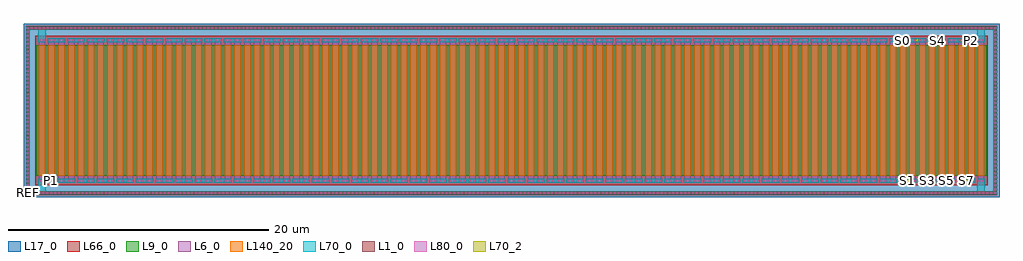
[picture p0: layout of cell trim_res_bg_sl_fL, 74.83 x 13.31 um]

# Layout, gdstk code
from math import pi, radians
import gdstk
lib = gdstk.Library(unit=1e-6, precision=1e-09)
def R(c, l, rs):  # rectangles x0, y0, x1, y1
    for r in rs: c.add(gdstk.rectangle(r[:2], r[2:], *l))
def A(c, l, x, y, w, h, nx, ny, dx, dy):  # array of equal rectangles
    R(c, l, [(x+i*dx, y+j*dy, x+i*dx+w, y+j*dy+h) for i in range(nx) for j in range(ny)])
L1_0 = (1, 0)
L6_0 = (6, 0)
L9_0 = (9, 0)
L17_0 = (17, 0)
L66_0 = (66, 0)
L70_0 = (70, 0)
L70_2 = (70, 2)
L80_0 = (80, 0)
L140_20 = (140, 20)

contact_cdns_78200731513 = lib.new_cell('Contact_CDNS_782007315131')
R(contact_cdns_78200731513, L6_0, [(-0.02,-0.02,0.58,0.28)])
R(contact_cdns_78200731513, L70_0, [(-0.02,-0.02,0.58,0.28)])
R(contact_cdns_78200731513, L80_0, [(0.06,0.06,0.2,0.2), (0.36,0.06,0.5,0.2)])

rnpolyh_cdns_78200731513 = lib.new_cell('rnpolyh_CDNS_782007315130')
R(rnpolyh_cdns_78200731513, L6_0, [(0,-0.24,0.5,0), (0,0,0.5,10), (0,10,0.5,10.24)])
R(rnpolyh_cdns_78200731513, L9_0, [(-0.2,0,0.7,10)])
R(rnpolyh_cdns_78200731513, L17_0, [(-0.21,-0.7,0.71,10.7)])
R(rnpolyh_cdns_78200731513, L66_0, [(-0.25,-0.74,0.75,10.74)])
R(rnpolyh_cdns_78200731513, L70_0, [(-0.05,-0.54,0.55,-0.24), (-0.05,-0.54,0.55,-0.24), (-0.05,10.24,0.55,10.54), (-0.05,10.24,0.55,10.54)])
R(rnpolyh_cdns_78200731513, L140_20, [(0,0,0.5,10)])
rnpolyh_cdns_78200731513.add(gdstk.Reference(contact_cdns_78200731513, (-0.03,10.26)))
rnpolyh_cdns_78200731513.add(gdstk.Reference(contact_cdns_78200731513, (-0.03,-0.52)))

c_rnpolyh_cdns_78200731513 = lib.new_cell('rnpolyh_CDNS_782007315132')
A(c_rnpolyh_cdns_78200731513, L6_0, 0, -0.24, 0.5, 0.24, 86, 2, 0.75, 10.24)
A(c_rnpolyh_cdns_78200731513, L6_0, 0, 0, 0.5, 10, 86, 1, 0.75, 0)
R(c_rnpolyh_cdns_78200731513, L9_0, [(-0.2,0,64.45,10)])
R(c_rnpolyh_cdns_78200731513, L17_0, [(-0.21,-0.7,64.46,10.7)])
R(c_rnpolyh_cdns_78200731513, L66_0, [(-0.25,-0.74,64.5,10.74)])
A(c_rnpolyh_cdns_78200731513, L70_0, -0.05, -0.54, 0.6, 0.3, 86, 2, 0.75, 10.78)
A(c_rnpolyh_cdns_78200731513, L70_0, 0.7, -0.54, 1.35, 0.3, 42, 1, 1.5, 0)
A(c_rnpolyh_cdns_78200731513, L70_0, -0.05, 10.24, 1.35, 0.3, 43, 1, 1.5, 0)
R(c_rnpolyh_cdns_78200731513, L70_0, [(-0.05,-0.54,0.55,-0.24), (63.7,-0.54,64.3,-0.24)])
A(c_rnpolyh_cdns_78200731513, L140_20, 0, 0, 0.5, 10, 86, 1, 0.75, 0)
c_rnpolyh_cdns_78200731513.add(gdstk.Reference(contact_cdns_78200731513, (63.72,10.26)))
c_rnpolyh_cdns_78200731513.add(gdstk.Reference(contact_cdns_78200731513, (63.72,-0.52)))
c_rnpolyh_cdns_78200731513.add(gdstk.Reference(contact_cdns_78200731513, (62.97,10.26)))
c_rnpolyh_cdns_78200731513.add(gdstk.Reference(contact_cdns_78200731513, (62.97,-0.52)))
c_rnpolyh_cdns_78200731513.add(gdstk.Reference(contact_cdns_78200731513, (62.22,10.26)))
c_rnpolyh_cdns_78200731513.add(gdstk.Reference(contact_cdns_78200731513, (62.22,-0.52)))
c_rnpolyh_cdns_78200731513.add(gdstk.Reference(contact_cdns_78200731513, (61.47,10.26)))
c_rnpolyh_cdns_78200731513.add(gdstk.Reference(contact_cdns_78200731513, (61.47,-0.52)))
c_rnpolyh_cdns_78200731513.add(gdstk.Reference(contact_cdns_78200731513, (60.72,10.26)))
c_rnpolyh_cdns_78200731513.add(gdstk.Reference(contact_cdns_78200731513, (60.72,-0.52)))
c_rnpolyh_cdns_78200731513.add(gdstk.Reference(contact_cdns_78200731513, (59.97,10.26)))
c_rnpolyh_cdns_78200731513.add(gdstk.Reference(contact_cdns_78200731513, (59.97,-0.52)))
c_rnpolyh_cdns_78200731513.add(gdstk.Reference(contact_cdns_78200731513, (59.22,10.26)))
c_rnpolyh_cdns_78200731513.add(gdstk.Reference(contact_cdns_78200731513, (59.22,-0.52)))
c_rnpolyh_cdns_78200731513.add(gdstk.Reference(contact_cdns_78200731513, (58.47,10.26)))
c_rnpolyh_cdns_78200731513.add(gdstk.Reference(contact_cdns_78200731513, (58.47,-0.52)))
c_rnpolyh_cdns_78200731513.add(gdstk.Reference(contact_cdns_78200731513, (57.72,10.26)))
c_rnpolyh_cdns_78200731513.add(gdstk.Reference(contact_cdns_78200731513, (57.72,-0.52)))
c_rnpolyh_cdns_78200731513.add(gdstk.Reference(contact_cdns_78200731513, (56.97,10.26)))
c_rnpolyh_cdns_78200731513.add(gdstk.Reference(contact_cdns_78200731513, (56.97,-0.52)))
c_rnpolyh_cdns_78200731513.add(gdstk.Reference(contact_cdns_78200731513, (56.22,10.26)))
c_rnpolyh_cdns_78200731513.add(gdstk.Reference(contact_cdns_78200731513, (56.22,-0.52)))
c_rnpolyh_cdns_78200731513.add(gdstk.Reference(contact_cdns_78200731513, (55.47,10.26)))
c_rnpolyh_cdns_78200731513.add(gdstk.Reference(contact_cdns_78200731513, (55.47,-0.52)))
c_rnpolyh_cdns_78200731513.add(gdstk.Reference(contact_cdns_78200731513, (54.72,10.26)))
c_rnpolyh_cdns_78200731513.add(gdstk.Reference(contact_cdns_78200731513, (54.72,-0.52)))
c_rnpolyh_cdns_78200731513.add(gdstk.Reference(contact_cdns_78200731513, (53.97,10.26)))
c_rnpolyh_cdns_78200731513.add(gdstk.Reference(contact_cdns_78200731513, (53.97,-0.52)))
c_rnpolyh_cdns_78200731513.add(gdstk.Reference(contact_cdns_78200731513, (53.22,10.26)))
c_rnpolyh_cdns_78200731513.add(gdstk.Reference(contact_cdns_78200731513, (53.22,-0.52)))
c_rnpolyh_cdns_78200731513.add(gdstk.Reference(contact_cdns_78200731513, (52.47,10.26)))
c_rnpolyh_cdns_78200731513.add(gdstk.Reference(contact_cdns_78200731513, (52.47,-0.52)))
c_rnpolyh_cdns_78200731513.add(gdstk.Reference(contact_cdns_78200731513, (51.72,10.26)))
c_rnpolyh_cdns_78200731513.add(gdstk.Reference(contact_cdns_78200731513, (51.72,-0.52)))
c_rnpolyh_cdns_78200731513.add(gdstk.Reference(contact_cdns_78200731513, (50.97,10.26)))
c_rnpolyh_cdns_78200731513.add(gdstk.Reference(contact_cdns_78200731513, (50.97,-0.52)))
c_rnpolyh_cdns_78200731513.add(gdstk.Reference(contact_cdns_78200731513, (50.22,10.26)))
c_rnpolyh_cdns_78200731513.add(gdstk.Reference(contact_cdns_78200731513, (50.22,-0.52)))
c_rnpolyh_cdns_78200731513.add(gdstk.Reference(contact_cdns_78200731513, (49.47,10.26)))
c_rnpolyh_cdns_78200731513.add(gdstk.Reference(contact_cdns_78200731513, (49.47,-0.52)))
c_rnpolyh_cdns_78200731513.add(gdstk.Reference(contact_cdns_78200731513, (48.72,10.26)))
c_rnpolyh_cdns_78200731513.add(gdstk.Reference(contact_cdns_78200731513, (48.72,-0.52)))
c_rnpolyh_cdns_78200731513.add(gdstk.Reference(contact_cdns_78200731513, (47.97,10.26)))
c_rnpolyh_cdns_78200731513.add(gdstk.Reference(contact_cdns_78200731513, (47.97,-0.52)))
c_rnpolyh_cdns_78200731513.add(gdstk.Reference(contact_cdns_78200731513, (47.22,10.26)))
c_rnpolyh_cdns_78200731513.add(gdstk.Reference(contact_cdns_78200731513, (47.22,-0.52)))
c_rnpolyh_cdns_78200731513.add(gdstk.Reference(contact_cdns_78200731513, (46.47,10.26)))
c_rnpolyh_cdns_78200731513.add(gdstk.Reference(contact_cdns_78200731513, (46.47,-0.52)))
c_rnpolyh_cdns_78200731513.add(gdstk.Reference(contact_cdns_78200731513, (45.72,10.26)))
c_rnpolyh_cdns_78200731513.add(gdstk.Reference(contact_cdns_78200731513, (45.72,-0.52)))
c_rnpolyh_cdns_78200731513.add(gdstk.Reference(contact_cdns_78200731513, (44.97,10.26)))
c_rnpolyh_cdns_78200731513.add(gdstk.Reference(contact_cdns_78200731513, (44.97,-0.52)))
c_rnpolyh_cdns_78200731513.add(gdstk.Reference(contact_cdns_78200731513, (44.22,10.26)))
c_rnpolyh_cdns_78200731513.add(gdstk.Reference(contact_cdns_78200731513, (44.22,-0.52)))
c_rnpolyh_cdns_78200731513.add(gdstk.Reference(contact_cdns_78200731513, (43.47,10.26)))
c_rnpolyh_cdns_78200731513.add(gdstk.Reference(contact_cdns_78200731513, (43.47,-0.52)))
c_rnpolyh_cdns_78200731513.add(gdstk.Reference(contact_cdns_78200731513, (42.72,10.26)))
c_rnpolyh_cdns_78200731513.add(gdstk.Reference(contact_cdns_78200731513, (42.72,-0.52)))
c_rnpolyh_cdns_78200731513.add(gdstk.Reference(contact_cdns_78200731513, (41.97,10.26)))
c_rnpolyh_cdns_78200731513.add(gdstk.Reference(contact_cdns_78200731513, (41.97,-0.52)))
c_rnpolyh_cdns_78200731513.add(gdstk.Reference(contact_cdns_78200731513, (41.22,10.26)))
c_rnpolyh_cdns_78200731513.add(gdstk.Reference(contact_cdns_78200731513, (41.22,-0.52)))
c_rnpolyh_cdns_78200731513.add(gdstk.Reference(contact_cdns_78200731513, (40.47,10.26)))
c_rnpolyh_cdns_78200731513.add(gdstk.Reference(contact_cdns_78200731513, (40.47,-0.52)))
c_rnpolyh_cdns_78200731513.add(gdstk.Reference(contact_cdns_78200731513, (39.72,10.26)))
c_rnpolyh_cdns_78200731513.add(gdstk.Reference(contact_cdns_78200731513, (39.72,-0.52)))
c_rnpolyh_cdns_78200731513.add(gdstk.Reference(contact_cdns_78200731513, (38.97,10.26)))
c_rnpolyh_cdns_78200731513.add(gdstk.Reference(contact_cdns_78200731513, (38.97,-0.52)))
c_rnpolyh_cdns_78200731513.add(gdstk.Reference(contact_cdns_78200731513, (38.22,10.26)))
c_rnpolyh_cdns_78200731513.add(gdstk.Reference(contact_cdns_78200731513, (38.22,-0.52)))
c_rnpolyh_cdns_78200731513.add(gdstk.Reference(contact_cdns_78200731513, (37.47,10.26)))
c_rnpolyh_cdns_78200731513.add(gdstk.Reference(contact_cdns_78200731513, (37.47,-0.52)))
c_rnpolyh_cdns_78200731513.add(gdstk.Reference(contact_cdns_78200731513, (36.72,10.26)))
c_rnpolyh_cdns_78200731513.add(gdstk.Reference(contact_cdns_78200731513, (36.72,-0.52)))
c_rnpolyh_cdns_78200731513.add(gdstk.Reference(contact_cdns_78200731513, (35.97,10.26)))
c_rnpolyh_cdns_78200731513.add(gdstk.Reference(contact_cdns_78200731513, (35.97,-0.52)))
c_rnpolyh_cdns_78200731513.add(gdstk.Reference(contact_cdns_78200731513, (35.22,10.26)))
c_rnpolyh_cdns_78200731513.add(gdstk.Reference(contact_cdns_78200731513, (35.22,-0.52)))
c_rnpolyh_cdns_78200731513.add(gdstk.Reference(contact_cdns_78200731513, (34.47,10.26)))
c_rnpolyh_cdns_78200731513.add(gdstk.Reference(contact_cdns_78200731513, (34.47,-0.52)))
c_rnpolyh_cdns_78200731513.add(gdstk.Reference(contact_cdns_78200731513, (33.72,10.26)))
c_rnpolyh_cdns_78200731513.add(gdstk.Reference(contact_cdns_78200731513, (33.72,-0.52)))
c_rnpolyh_cdns_78200731513.add(gdstk.Reference(contact_cdns_78200731513, (32.97,10.26)))
c_rnpolyh_cdns_78200731513.add(gdstk.Reference(contact_cdns_78200731513, (32.97,-0.52)))
c_rnpolyh_cdns_78200731513.add(gdstk.Reference(contact_cdns_78200731513, (32.22,10.26)))
c_rnpolyh_cdns_78200731513.add(gdstk.Reference(contact_cdns_78200731513, (32.22,-0.52)))
c_rnpolyh_cdns_78200731513.add(gdstk.Reference(contact_cdns_78200731513, (31.47,10.26)))
c_rnpolyh_cdns_78200731513.add(gdstk.Reference(contact_cdns_78200731513, (31.47,-0.52)))
c_rnpolyh_cdns_78200731513.add(gdstk.Reference(contact_cdns_78200731513, (30.72,10.26)))
c_rnpolyh_cdns_78200731513.add(gdstk.Reference(contact_cdns_78200731513, (30.72,-0.52)))
c_rnpolyh_cdns_78200731513.add(gdstk.Reference(contact_cdns_78200731513, (29.97,10.26)))
c_rnpolyh_cdns_78200731513.add(gdstk.Reference(contact_cdns_78200731513, (29.97,-0.52)))
c_rnpolyh_cdns_78200731513.add(gdstk.Reference(contact_cdns_78200731513, (29.22,10.26)))
c_rnpolyh_cdns_78200731513.add(gdstk.Reference(contact_cdns_78200731513, (29.22,-0.52)))
c_rnpolyh_cdns_78200731513.add(gdstk.Reference(contact_cdns_78200731513, (28.47,10.26)))
c_rnpolyh_cdns_78200731513.add(gdstk.Reference(contact_cdns_78200731513, (28.47,-0.52)))
c_rnpolyh_cdns_78200731513.add(gdstk.Reference(contact_cdns_78200731513, (27.72,10.26)))
c_rnpolyh_cdns_78200731513.add(gdstk.Reference(contact_cdns_78200731513, (27.72,-0.52)))
c_rnpolyh_cdns_78200731513.add(gdstk.Reference(contact_cdns_78200731513, (26.97,10.26)))
c_rnpolyh_cdns_78200731513.add(gdstk.Reference(contact_cdns_78200731513, (26.97,-0.52)))
c_rnpolyh_cdns_78200731513.add(gdstk.Reference(contact_cdns_78200731513, (26.22,10.26)))
c_rnpolyh_cdns_78200731513.add(gdstk.Reference(contact_cdns_78200731513, (26.22,-0.52)))
c_rnpolyh_cdns_78200731513.add(gdstk.Reference(contact_cdns_78200731513, (25.47,10.26)))
c_rnpolyh_cdns_78200731513.add(gdstk.Reference(contact_cdns_78200731513, (25.47,-0.52)))
c_rnpolyh_cdns_78200731513.add(gdstk.Reference(contact_cdns_78200731513, (24.72,10.26)))
c_rnpolyh_cdns_78200731513.add(gdstk.Reference(contact_cdns_78200731513, (24.72,-0.52)))
c_rnpolyh_cdns_78200731513.add(gdstk.Reference(contact_cdns_78200731513, (23.97,10.26)))
c_rnpolyh_cdns_78200731513.add(gdstk.Reference(contact_cdns_78200731513, (23.97,-0.52)))
c_rnpolyh_cdns_78200731513.add(gdstk.Reference(contact_cdns_78200731513, (23.22,10.26)))
c_rnpolyh_cdns_78200731513.add(gdstk.Reference(contact_cdns_78200731513, (23.22,-0.52)))
c_rnpolyh_cdns_78200731513.add(gdstk.Reference(contact_cdns_78200731513, (22.47,10.26)))
c_rnpolyh_cdns_78200731513.add(gdstk.Reference(contact_cdns_78200731513, (22.47,-0.52)))
c_rnpolyh_cdns_78200731513.add(gdstk.Reference(contact_cdns_78200731513, (21.72,10.26)))
c_rnpolyh_cdns_78200731513.add(gdstk.Reference(contact_cdns_78200731513, (21.72,-0.52)))
c_rnpolyh_cdns_78200731513.add(gdstk.Reference(contact_cdns_78200731513, (20.97,10.26)))
c_rnpolyh_cdns_78200731513.add(gdstk.Reference(contact_cdns_78200731513, (20.97,-0.52)))
c_rnpolyh_cdns_78200731513.add(gdstk.Reference(contact_cdns_78200731513, (20.22,10.26)))
c_rnpolyh_cdns_78200731513.add(gdstk.Reference(contact_cdns_78200731513, (20.22,-0.52)))
c_rnpolyh_cdns_78200731513.add(gdstk.Reference(contact_cdns_78200731513, (19.47,10.26)))
c_rnpolyh_cdns_78200731513.add(gdstk.Reference(contact_cdns_78200731513, (19.47,-0.52)))
c_rnpolyh_cdns_78200731513.add(gdstk.Reference(contact_cdns_78200731513, (18.72,10.26)))
c_rnpolyh_cdns_78200731513.add(gdstk.Reference(contact_cdns_78200731513, (18.72,-0.52)))
c_rnpolyh_cdns_78200731513.add(gdstk.Reference(contact_cdns_78200731513, (17.97,10.26)))
c_rnpolyh_cdns_78200731513.add(gdstk.Reference(contact_cdns_78200731513, (17.97,-0.52)))
c_rnpolyh_cdns_78200731513.add(gdstk.Reference(contact_cdns_78200731513, (17.22,10.26)))
c_rnpolyh_cdns_78200731513.add(gdstk.Reference(contact_cdns_78200731513, (17.22,-0.52)))
c_rnpolyh_cdns_78200731513.add(gdstk.Reference(contact_cdns_78200731513, (16.47,10.26)))
c_rnpolyh_cdns_78200731513.add(gdstk.Reference(contact_cdns_78200731513, (16.47,-0.52)))
c_rnpolyh_cdns_78200731513.add(gdstk.Reference(contact_cdns_78200731513, (15.72,10.26)))
c_rnpolyh_cdns_78200731513.add(gdstk.Reference(contact_cdns_78200731513, (15.72,-0.52)))
c_rnpolyh_cdns_78200731513.add(gdstk.Reference(contact_cdns_78200731513, (14.97,10.26)))
c_rnpolyh_cdns_78200731513.add(gdstk.Reference(contact_cdns_78200731513, (14.97,-0.52)))
c_rnpolyh_cdns_78200731513.add(gdstk.Reference(contact_cdns_78200731513, (14.22,10.26)))
c_rnpolyh_cdns_78200731513.add(gdstk.Reference(contact_cdns_78200731513, (14.22,-0.52)))
c_rnpolyh_cdns_78200731513.add(gdstk.Reference(contact_cdns_78200731513, (13.47,10.26)))
c_rnpolyh_cdns_78200731513.add(gdstk.Reference(contact_cdns_78200731513, (13.47,-0.52)))
c_rnpolyh_cdns_78200731513.add(gdstk.Reference(contact_cdns_78200731513, (12.72,10.26)))
c_rnpolyh_cdns_78200731513.add(gdstk.Reference(contact_cdns_78200731513, (12.72,-0.52)))
c_rnpolyh_cdns_78200731513.add(gdstk.Reference(contact_cdns_78200731513, (11.97,10.26)))
c_rnpolyh_cdns_78200731513.add(gdstk.Reference(contact_cdns_78200731513, (11.97,-0.52)))
c_rnpolyh_cdns_78200731513.add(gdstk.Reference(contact_cdns_78200731513, (11.22,10.26)))
c_rnpolyh_cdns_78200731513.add(gdstk.Reference(contact_cdns_78200731513, (11.22,-0.52)))
c_rnpolyh_cdns_78200731513.add(gdstk.Reference(contact_cdns_78200731513, (10.47,10.26)))
c_rnpolyh_cdns_78200731513.add(gdstk.Reference(contact_cdns_78200731513, (10.47,-0.52)))
c_rnpolyh_cdns_78200731513.add(gdstk.Reference(contact_cdns_78200731513, (9.72,10.26)))
c_rnpolyh_cdns_78200731513.add(gdstk.Reference(contact_cdns_78200731513, (9.72,-0.52)))
c_rnpolyh_cdns_78200731513.add(gdstk.Reference(contact_cdns_78200731513, (8.97,10.26)))
c_rnpolyh_cdns_78200731513.add(gdstk.Reference(contact_cdns_78200731513, (8.97,-0.52)))
c_rnpolyh_cdns_78200731513.add(gdstk.Reference(contact_cdns_78200731513, (8.22,10.26)))
c_rnpolyh_cdns_78200731513.add(gdstk.Reference(contact_cdns_78200731513, (8.22,-0.52)))
c_rnpolyh_cdns_78200731513.add(gdstk.Reference(contact_cdns_78200731513, (7.47,10.26)))
c_rnpolyh_cdns_78200731513.add(gdstk.Reference(contact_cdns_78200731513, (7.47,-0.52)))
c_rnpolyh_cdns_78200731513.add(gdstk.Reference(contact_cdns_78200731513, (6.72,10.26)))
c_rnpolyh_cdns_78200731513.add(gdstk.Reference(contact_cdns_78200731513, (6.72,-0.52)))
c_rnpolyh_cdns_78200731513.add(gdstk.Reference(contact_cdns_78200731513, (5.97,10.26)))
c_rnpolyh_cdns_78200731513.add(gdstk.Reference(contact_cdns_78200731513, (5.97,-0.52)))
c_rnpolyh_cdns_78200731513.add(gdstk.Reference(contact_cdns_78200731513, (5.22,10.26)))
c_rnpolyh_cdns_78200731513.add(gdstk.Reference(contact_cdns_78200731513, (5.22,-0.52)))
c_rnpolyh_cdns_78200731513.add(gdstk.Reference(contact_cdns_78200731513, (4.47,10.26)))
c_rnpolyh_cdns_78200731513.add(gdstk.Reference(contact_cdns_78200731513, (4.47,-0.52)))
c_rnpolyh_cdns_78200731513.add(gdstk.Reference(contact_cdns_78200731513, (3.72,10.26)))
c_rnpolyh_cdns_78200731513.add(gdstk.Reference(contact_cdns_78200731513, (3.72,-0.52)))
c_rnpolyh_cdns_78200731513.add(gdstk.Reference(contact_cdns_78200731513, (2.97,10.26)))
c_rnpolyh_cdns_78200731513.add(gdstk.Reference(contact_cdns_78200731513, (2.97,-0.52)))
c_rnpolyh_cdns_78200731513.add(gdstk.Reference(contact_cdns_78200731513, (2.22,10.26)))
c_rnpolyh_cdns_78200731513.add(gdstk.Reference(contact_cdns_78200731513, (2.22,-0.52)))
c_rnpolyh_cdns_78200731513.add(gdstk.Reference(contact_cdns_78200731513, (1.47,10.26)))
c_rnpolyh_cdns_78200731513.add(gdstk.Reference(contact_cdns_78200731513, (1.47,-0.52)))
c_rnpolyh_cdns_78200731513.add(gdstk.Reference(contact_cdns_78200731513, (0.72,10.26)))
c_rnpolyh_cdns_78200731513.add(gdstk.Reference(contact_cdns_78200731513, (0.72,-0.52)))
c_rnpolyh_cdns_78200731513.add(gdstk.Reference(contact_cdns_78200731513, (-0.03,10.26)))
c_rnpolyh_cdns_78200731513.add(gdstk.Reference(contact_cdns_78200731513, (-0.03,-0.52)))

c_rnpolyh_cdns_78200731513_ = lib.new_cell('rnpolyh_CDNS_782007315133')
R(c_rnpolyh_cdns_78200731513_, L6_0, [(0,-0.24,0.5,0), (0,0,0.5,10), (0,10,0.5,10.24)])
R(c_rnpolyh_cdns_78200731513_, L9_0, [(-0.2,0,0.7,10)])
R(c_rnpolyh_cdns_78200731513_, L17_0, [(-0.21,-0.7,0.71,10.7)])
R(c_rnpolyh_cdns_78200731513_, L66_0, [(-0.25,-0.74,0.75,10.74)])
R(c_rnpolyh_cdns_78200731513_, L70_0, [(-0.05,-0.54,0.55,-0.24), (-0.05,-0.54,0.55,-0.24), (-0.05,10.24,0.55,10.54), (-0.05,10.24,0.55,10.54)])
R(c_rnpolyh_cdns_78200731513_, L140_20, [(0,0,0.5,10)])
c_rnpolyh_cdns_78200731513_.add(gdstk.Reference(contact_cdns_78200731513, (-0.03,10.26)))
c_rnpolyh_cdns_78200731513_.add(gdstk.Reference(contact_cdns_78200731513, (-0.03,-0.52)))

trim_res_bg_sl_fl = lib.new_cell('trim_res_bg_sl_fL')
R(trim_res_bg_sl_fl, L17_0, [(0.1,0.09,74.735,13.21)])
R(trim_res_bg_sl_fl, L70_0, [(73.12,0.235,73.72,1.355), (1.12,0.33,1.72,1.295), (69.135,1.12,69.495,1.42), (70.68,1.12,70.935,1.42), (72.18,1.12,72.415,1.42), (66.875,11.9,67.23,12.2), (68.415,11.9,68.675,12.2), (69.89,11.9,70.195,12.2), (71.405,11.9,71.695,12.2), (1.12,12.025,1.72,12.99), (73.12,12.105,73.72,13.02)])
R(trim_res_bg_sl_fl, L70_2, [(0.28,0.275,0.43,0.425), (70.72,1.19,70.87,1.34), (2.095,1.195,2.245,1.345), (67.72,1.195,67.87,1.345), (69.22,1.195,69.37,1.345), (72.22,1.205,72.37,1.355), (67.345,11.975,67.495,12.125), (68.47,11.975,68.62,12.125), (69.97,11.975,70.12,12.125), (71.845,11.975,71.995,12.125), (72.595,11.975,72.745,12.125)])
A(trim_res_bg_sl_fl, L80_0, 0.26, 0.26, 0.14, 0.14, 232, 1, 0.3, 0)
A(trim_res_bg_sl_fl, L80_0, 69.865, 0.26, 0.14, 0.14, 16, 1, 0.305, 0)
A(trim_res_bg_sl_fl, L80_0, 74.44, 0.56, 0.14, 0.14, 1, 30, 0, 0.3)
A(trim_res_bg_sl_fl, L80_0, 0.26, 0.565, 0.14, 0.14, 1, 12, 0, 0.305)
A(trim_res_bg_sl_fl, L80_0, 0.26, 4.22, 0.14, 0.14, 1, 29, 0, 0.3)
A(trim_res_bg_sl_fl, L80_0, 74.44, 9.565, 0.14, 0.14, 1, 11, 0, 0.305)
A(trim_res_bg_sl_fl, L80_0, 0.26, 12.92, 0.14, 0.14, 9, 1, 0.305, 0)
A(trim_res_bg_sl_fl, L80_0, 3, 12.92, 0.14, 0.14, 116, 1, 0.3, 0)
A(trim_res_bg_sl_fl, L80_0, 37.805, 12.92, 0.14, 0.14, 8, 1, 0.305, 0)
A(trim_res_bg_sl_fl, L80_0, 40.24, 12.92, 0.14, 0.14, 115, 1, 0.3, 0)
trim_res_bg_sl_fl.add(gdstk.FlexPath([(37.42,12.99),(74.51,12.99),(74.51,0.33),(0.33,0.33),(0.33,12.99),(37.42,12.99)], 0.29, ends="flush", simple_path=True, layer=70, datatype=0))  # L70_0
trim_res_bg_sl_fl.add(gdstk.FlexPath([(67.72,1.27),(68.115,1.27)], 0.3, ends="flush", simple_path=True, layer=70, datatype=0))  # L70_0
trim_res_bg_sl_fl.add(gdstk.FlexPath([(66.175,1.27),(66.65,1.27)], 0.3, ends="flush", simple_path=True, layer=70, datatype=0))  # L70_0
trim_res_bg_sl_fl.add(gdstk.FlexPath([(37.42,12.99),(74.51,12.99),(74.51,0.33),(0.33,0.33),(0.33,12.99),(37.42,12.99)], 0.3, ends="flush", simple_path=True, layer=66, datatype=0))  # L66_0
trim_res_bg_sl_fl.add(gdstk.FlexPath([(37.42,12.99),(74.51,12.99),(74.51,0.33),(0.33,0.33),(0.33,12.99),(37.42,12.99)], 0.65, ends="flush", simple_path=True, layer=17, datatype=0))  # L17_0
trim_res_bg_sl_fl.add(gdstk.FlexPath([(37.42,12.99),(74.51,12.99),(74.51,0.33),(0.33,0.33),(0.33,12.99),(37.42,12.99)], 0.18, ends="flush", simple_path=True, layer=1, datatype=0))  # L1_0
trim_res_bg_sl_fl.add(gdstk.Reference(rnpolyh_cdns_78200731513, (66.42,1.66)))
trim_res_bg_sl_fl.add(gdstk.Reference(rnpolyh_cdns_78200731513, (71.67,11.66), x_reflection=True))
trim_res_bg_sl_fl.add(gdstk.Reference(rnpolyh_cdns_78200731513, (70.92,1.66)))
trim_res_bg_sl_fl.add(gdstk.Reference(rnpolyh_cdns_78200731513, (70.17,11.66), x_reflection=True))
trim_res_bg_sl_fl.add(gdstk.Reference(rnpolyh_cdns_78200731513, (69.42,1.66)))
trim_res_bg_sl_fl.add(gdstk.Reference(rnpolyh_cdns_78200731513, (67.92,1.66)))
trim_res_bg_sl_fl.add(gdstk.Reference(rnpolyh_cdns_78200731513, (67.67,11.66), rotation=pi))
trim_res_bg_sl_fl.add(gdstk.Reference(rnpolyh_cdns_78200731513, (72.42,1.66)))
trim_res_bg_sl_fl.add(gdstk.Reference(rnpolyh_cdns_78200731513, (68.67,11.66), x_reflection=True))
trim_res_bg_sl_fl.add(gdstk.Reference(c_rnpolyh_cdns_78200731513, (1.92,1.66)))
trim_res_bg_sl_fl.add(gdstk.Reference(c_rnpolyh_cdns_78200731513_, (73.17,1.66)))
trim_res_bg_sl_fl.add(gdstk.Reference(c_rnpolyh_cdns_78200731513_, (1.17,1.66)))
trim_res_bg_sl_fl.add(gdstk.Label('S1', (67.795,1.27), layer=70, texttype=2))
trim_res_bg_sl_fl.add(gdstk.Label('S3', (69.295,1.27), layer=70, texttype=2))
trim_res_bg_sl_fl.add(gdstk.Label('S5', (70.795,1.265), layer=70, texttype=2))
trim_res_bg_sl_fl.add(gdstk.Label('S7', (72.295,1.28), layer=70, texttype=2))
trim_res_bg_sl_fl.add(gdstk.Label('P1', (2.17,1.27), layer=70, texttype=2))
trim_res_bg_sl_fl.add(gdstk.Label('P2', (72.67,12.05), layer=70, texttype=2))
trim_res_bg_sl_fl.add(gdstk.Label('S0', (67.42,12.05), layer=70, texttype=2))
trim_res_bg_sl_fl.add(gdstk.Label('S2', (68.545,12.05), layer=70, texttype=2))
trim_res_bg_sl_fl.add(gdstk.Label('S4', (70.045,12.05), layer=70, texttype=2))
trim_res_bg_sl_fl.add(gdstk.Label('S6', (71.92,12.05), layer=70, texttype=2))
trim_res_bg_sl_fl.add(gdstk.Label('REF', (0.355,0.35), layer=70, texttype=2))

lib.write_gds('trim_res_bg_sl_fL.gds')
